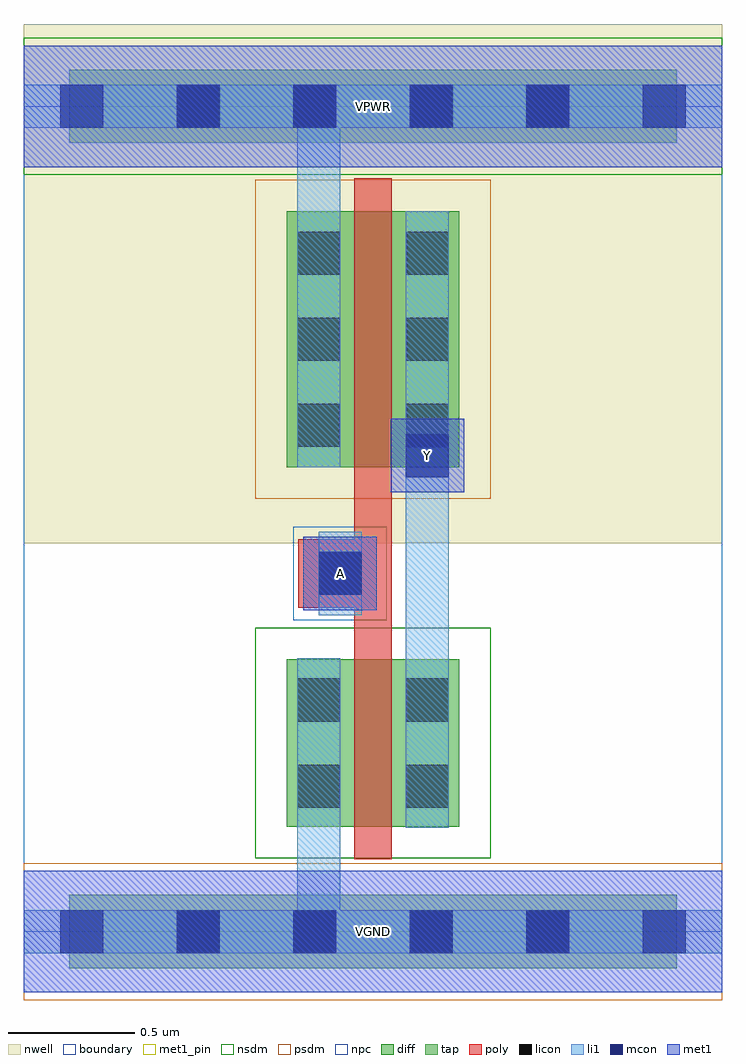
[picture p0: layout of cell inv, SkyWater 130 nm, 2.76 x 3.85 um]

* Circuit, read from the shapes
.subckt inv A VGND VPWR Y
XM1 Y A VGND VGND sky130_fd_pr__nfet_01v8 w=0.66 l=0.15
XM2 Y A VPWR VPWR sky130_fd_pr__pfet_01v8 w=1.01 l=0.15
.ends

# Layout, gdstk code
import gdstk
lib = gdstk.Library(unit=1e-6, precision=1e-09)
def R(c, l, rs):  # rectangles x0, y0, x1, y1
    for r in rs: c.add(gdstk.rectangle(r[:2], r[2:], *l))
def A(c, l, x, y, w, h, nx, ny, dx, dy):  # array of equal rectangles
    R(c, l, [(x+i*dx, y+j*dy, x+i*dx+w, y+j*dy+h) for i in range(nx) for j in range(ny)])
nwell = (64, 20)
diff = (65, 20)
tap = (65, 44)
poly = (66, 20)
licon = (66, 44)
li1 = (67, 20)
mcon = (67, 44)
met1_pin = (68, 16)
met1 = (68, 20)
nsdm = (93, 44)
psdm = (94, 20)
npc = (95, 20)
boundary = (235, 4)

inv = lib.new_cell('inv')
R(inv, nwell, [(0,1.535,2.76,3.585)])
R(inv, diff, [(1.04,0.415,1.72,1.075), (1.04,1.835,1.72,2.845)])
R(inv, tap, [(0.18,-0.145,2.58,0.145), (0.18,3.115,2.58,3.405)])
R(inv, poly, [(1.305,0.285,1.455,2.975), (1.085,1.28,1.415,1.55)])
A(inv, licon, 0.605, -0.085, 0.17, 0.17, 4, 2, 0.46, 3.26)
A(inv, licon, 1.08, 1.915, 0.17, 0.17, 1, 3, 0, 0.34)
A(inv, licon, 1.51, 1.915, 0.17, 0.17, 1, 3, 0, 0.34)
R(inv, licon, [(1.08,0.49,1.25,0.66), (1.51,0.49,1.68,0.66), (1.08,0.83,1.25,1), (1.51,0.83,1.68,1), (1.165,1.33,1.335,1.5)])
R(inv, li1, [(0,-0.085,2.76,0.085), (1.08,-0.085,1.25,1.08), (1.08,0.41,1.25,1.08), (1.51,0.41,1.68,1.08), (1.51,0.41,1.68,2.845), (1.165,1.25,1.335,1.58), (1.08,1.835,1.25,2.845), (1.08,1.835,1.25,3.345), (1.51,1.835,1.68,2.845), (0,3.175,2.76,3.345)])
A(inv, mcon, 0.145, -0.085, 0.17, 0.17, 6, 2, 0.46, 3.26)
R(inv, mcon, [(1.165,1.33,1.335,1.5), (1.51,1.795,1.68,1.965)])
R(inv, met1_pin, [(0,-0.24,2.76,0.24), (1.105,1.27,1.395,1.56), (1.45,1.735,1.74,2.025), (0,3.02,2.76,3.5)])
R(inv, met1, [(0,-0.24,2.76,0.24), (1.105,1.27,1.395,1.56), (1.45,1.735,1.74,2.025), (0,3.02,2.76,3.5)])
R(inv, nsdm, [(0.915,0.29,1.845,1.2), (0,2.99,2.76,3.53)])
R(inv, psdm, [(0,-0.27,2.76,0.27), (0.915,1.71,1.845,2.97)])
R(inv, npc, [(1.065,1.23,1.435,1.6)])
R(inv, boundary, [(0,0,2.76,3.26)])
inv.add(gdstk.Label('A', (1.25,1.415), layer=68, texttype=5))
inv.add(gdstk.Label('Y', (1.595,1.88), layer=68, texttype=5))
inv.add(gdstk.Label('VPWR', (1.38,3.26), layer=68, texttype=5))
inv.add(gdstk.Label('VGND', (1.38,0), layer=68, texttype=5))
inv.add(gdstk.Label('A', (1.25,1.415), layer=68, texttype=16))
inv.add(gdstk.Label('Y', (1.595,1.88), layer=68, texttype=16))
inv.add(gdstk.Label('VPWR', (1.38,3.26), layer=68, texttype=16))
inv.add(gdstk.Label('VGND', (1.38,0), layer=68, texttype=16))

lib.write_gds('inv.gds')
